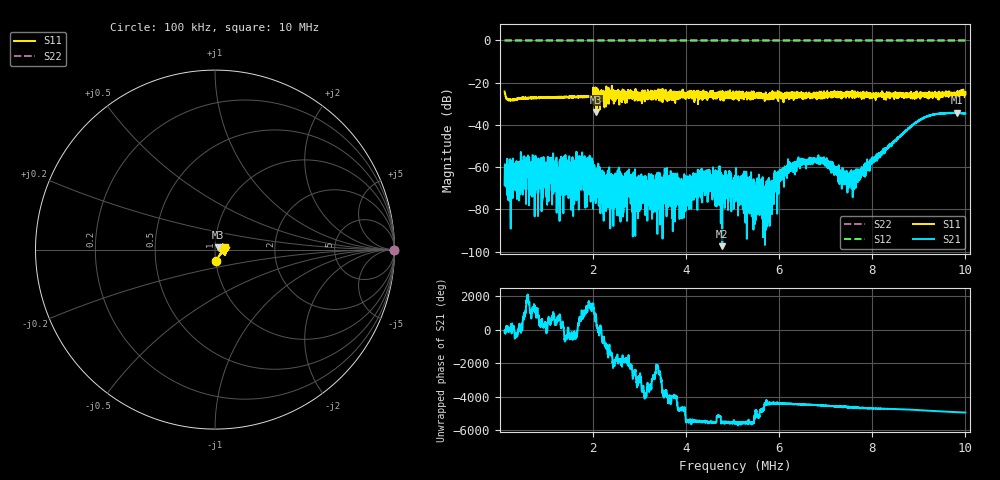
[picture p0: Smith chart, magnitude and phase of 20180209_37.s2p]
! Anritsu VNA Master:  Model: MS2026C/19
! SN:  1815009
! /card0/usr/20180209_37.s2p
! Existing Calibration Information:
! TYPE:  Current Settings,  Active Cal Settings
! TIME:  09/02/2018 10:49:57 PM,  09/02/2018 11:58:48 AM
! INTERNAL TEMP:  51.3 C,  48.8 C
! # POINTS:  4001,  4001
! START FREQ:  100.000 kHz,  100.000 kHz
! STOP FREQ:  10.000 MHz,  10.000 MHz
! SOURCE POWER:  Low,  Low
! IFBW:  500 Hz,  500 Hz
! AVG FACTOR:  1 ,  1
! REF PLANE 1:  0 mm,  0 mm
! REF PLANE 2:  0 mm,  0 mm
! CAL TYPE:  1P2P S11,S21,  1P2P S11,S21
! CAL METHOD:  SOLT,  SOLT
! CAL LINE TYPE:  Coax,  Coax
! DUT PORT 1:  N-Conn(M),  N-Conn(M)
! DUT PORT 2:  N-Conn(M),  N-Conn(M)
! CAL STATUS:  OK: Accuracy High,  --
# GHZ S RI R 50.0
! FREQ.GHZ  S11RE  S11IM  S21RE  S21IM  S12RE  S12IM  S22RE  S22IM
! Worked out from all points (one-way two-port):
!   4001 points, 100 kHz to 10 MHz, reference 50 ohm
!   highest |S21| = -34.22 dB at 9.819 MHz (marker M1); lowest = -97.4 dB at 4.775 MHz (marker M2)
!   lowest |S11| = -33.9 dB at 2.065 MHz (marker M3), VSWR 1.04, Z = 51.5 + j1.4 ohm
!   |S11| at or under -10 dB: start of sweep to end of sweep
!   |S22| runs from 0.0 to 0.0 dB; largest |S21 - S12| = 1
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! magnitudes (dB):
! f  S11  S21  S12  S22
! 100 kHz  -24.2  -68.5  0.0  0.0
! 617.3 kHz  -27.3  -56.2  0.0  0.0
! 1.751 MHz  -26.9  -59.1  0.0  0.0
! 1.949 MHz  -26.5  -76.3  0.0  0.0
! 2.065 MHz  -33.9  -66.2  0.0  0.0
! 2.639 MHz  -25.3  -65.9  0.0  0.0
! 2.785 MHz  -26.3  -74.2  0.0  0.0
! 3.402 MHz  -27.2  -72.0  0.0  0.0
! 3.904 MHz  -24.7  -72.3  0.0  0.0
! 4.486 MHz  -26.7  -63.6  0.0  0.0
! 4.775 MHz  -26.0  -97.4  0.0  0.0
! 5.05 MHz  -25.0  -69.9  0.0  0.0
! 5.456 MHz  -25.7  -69.6  0.0  0.0
! 5.575 MHz  -26.1  -68.2  0.0  0.0
! 5.701 MHz  -26.6  -70.5  0.0  0.0
! 6.218 MHz  -25.7  -59.5  0.0  0.0
! 6.701 MHz  -27.3  -58.1  0.0  0.0
! 7.592 MHz  -24.1  -67.8  0.0  0.0
! 8.352 MHz  -26.2  -50.8  0.0  0.0
! 9.102 MHz  -25.8  -36.7  0.0  0.0
! 9.819 MHz  -24.2  -34.2  0.0  0.0
! 10 MHz  -24.6  -34.6  0.0  0.0
